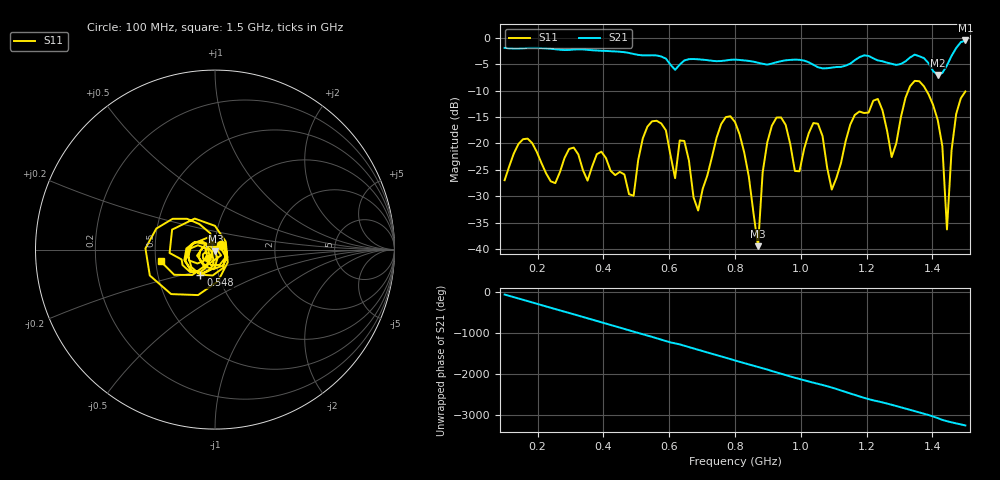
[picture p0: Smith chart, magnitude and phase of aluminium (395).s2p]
! NanoVNA-App
! Date: 2025-09-25 14:58:21
! Start: 100MHz Stop: 1,5GHz Points: 101
! S-Parameter data: F S11 S21 S12 S22
# Hz S RI R 50
!  Frequency  S11_Real  S11_Imag  S21_Real  S21_Imag  S12_Real  S12_Imag  S22_Real  S22_Imag
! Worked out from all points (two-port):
!   101 points, 100 MHz to 1.5 GHz, reference 50 ohm
!   highest |S21| = -0.51 dB at 1.5 GHz (marker M1); lowest = -7.0 dB at 1.416 GHz (marker M2)
!   |S21| within 3 dB of the highest: start of sweep to 573.8 MHz; 1.457 GHz to end of sweep (the widest 2 of 4)
!   lowest |S11| = -39.4 dB at 870 MHz (marker M3), VSWR 1.02, Z = 50.2 - j1.05 ohm
!   |S11| at or under -10 dB: start of sweep to 1.327 GHz; 1.382 GHz to end of sweep
!   S12 and S22 are empty: the file has one direction only
!   S11 on the Smith chart (normalised r, x): 100 MHz: 1.07, +0.06; 548 MHz: 0.82, -0.24; 1.5 GHz: 0.53, -0.08
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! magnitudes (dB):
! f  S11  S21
! 100 MHz  -27.0  -1.9
! 170 MHz  -19.1  -1.9
! 338 MHz  -25.1  -2.2
! 492 MHz  -29.9  -3.1
! 548 MHz  -15.8  -3.3
! 576 MHz  -16.2  -3.5
! 618 MHz  -26.6  -6.1
! 646 MHz  -19.5  -4.3
! 688 MHz  -32.7  -4.1
! 800 MHz  -15.9  -4.1
! 870 MHz  -39.4  -4.7
! 912 MHz  -16.6  -4.9
! 996 MHz  -25.3  -4.2
! 1.038 GHz  -16.1  -5.1
! 1.094 GHz  -28.7  -5.7
! 1.22 GHz  -11.9  -3.9
! 1.276 GHz  -22.6  -4.9
! 1.346 GHz  -8.2  -3.2
! 1.416 GHz  -15.6  -7.0
! 1.444 GHz  -36.3  -5.2
! 1.472 GHz  -14.4  -2.0
! 1.5 GHz  -10.2  -0.5
